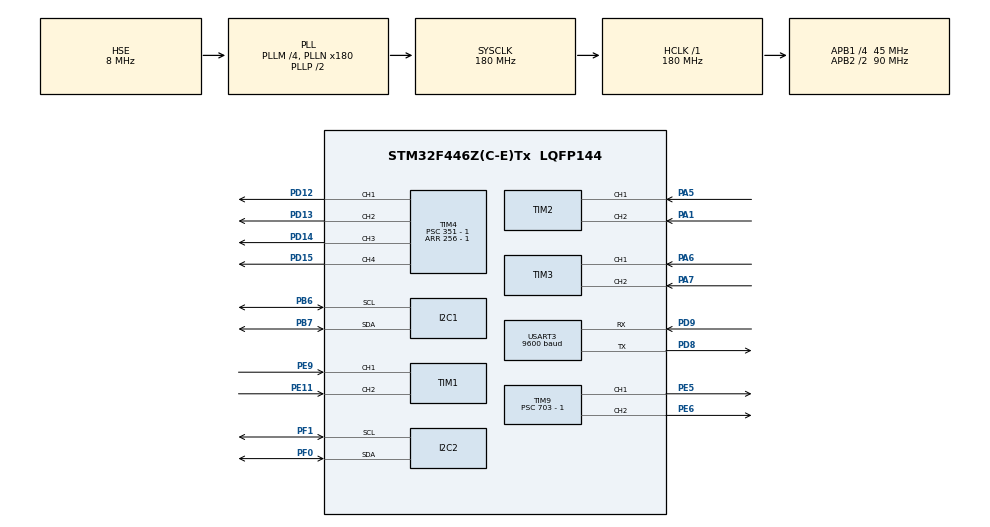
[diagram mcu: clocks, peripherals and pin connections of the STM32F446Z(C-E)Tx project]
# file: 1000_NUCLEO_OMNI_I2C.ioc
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Mcu.Family=STM32F4
Mcu.Name=STM32F446Z(C-E)Tx
Mcu.Package=LQFP144
NVIC.PriorityGroup=NVIC_PRIORITYGROUP_4
NVIC.TIM5_IRQn=true\:0\:0\:false\:false\:true\:true\:true\:true
PA1.Signal=S_TIM2_CH2
PA13.Mode=Serial_Wire
PA13.Signal=SYS_JTMS-SWDIO
PA14.Mode=Serial_Wire
PA14.Signal=SYS_JTCK-SWCLK
PA5.Signal=S_TIM2_CH1_ETR
PA6.Signal=S_TIM3_CH1
PA7.Signal=S_TIM3_CH2
PB14.Signal=S_TIM12_CH1
PB6.Mode=I2C
PB6.Signal=I2C1_SCL
PB7.Mode=I2C
PB7.Signal=I2C1_SDA
PC14-OSC32_IN.Mode=LSE-External-Oscillator
PC14-OSC32_IN.Signal=RCC_OSC32_IN
PC15-OSC32_OUT.Mode=LSE-External-Oscillator
PC15-OSC32_OUT.Signal=RCC_OSC32_OUT
PD12.Signal=S_TIM4_CH1
PD13.Signal=S_TIM4_CH2
PD14.Signal=S_TIM4_CH3
PD15.Signal=S_TIM4_CH4
PD8.Mode=Asynchronous
PD8.Signal=USART3_TX
PD9.Mode=Asynchronous
PD9.Signal=USART3_RX
PE11.Signal=S_TIM1_CH2
PE5.Signal=S_TIM9_CH1
PE6.Signal=S_TIM9_CH2
PE9.Signal=S_TIM1_CH1
PF0.Mode=I2C
PF0.Signal=I2C2_SDA
PF1.Mode=I2C
PF1.Signal=I2C2_SCL
PH0-OSC_IN.Mode=HSE-External-Oscillator
PH0-OSC_IN.Signal=RCC_OSC_IN
PH1-OSC_OUT.Mode=HSE-External-Oscillator
PH1-OSC_OUT.Signal=RCC_OSC_OUT
ProjectManager.HeapSize=0x200
ProjectManager.StackSize=0x400
ProjectManager.TargetToolchain=STM32CubeIDE
RCC.48MHZClocksFreq_Value=24000000
RCC.AHBFreq_Value=180000000
RCC.APB1CLKDivider=RCC_HCLK_DIV4
RCC.APB1Freq_Value=45000000
RCC.APB1TimFreq_Value=90000000
RCC.APB2CLKDivider=RCC_HCLK_DIV2
RCC.APB2Freq_Value=90000000
RCC.APB2TimFreq_Value=180000000
RCC.CortexFreq_Value=180000000
RCC.HCLKFreq_Value=180000000
RCC.HSE_VALUE=8000000
RCC.HSI_VALUE=16000000
RCC.PLLM=4
RCC.PLLMUL=RCC_PLL_MUL9
RCC.PLLN=180
RCC.PLLSourceVirtual=RCC_PLLSOURCE_HSE
RCC.PRESCALERUSB=RCC_USBCLKSOURCE_PLL_DIV1_5
RCC.SYSCLKFreq_VALUE=180000000
RCC.SYSCLKSource=RCC_SYSCLKSOURCE_PLLCLK
RCC.SYSCLKSourceVirtual=RCC_SYSCLKSOURCE_PLLCLK
RCC.USBFreq_Value=180000000
RCC.VCOOutputFreq_Value=360000000
SH.S_TIM12_CH1.0=TIM12_CH1
SH.S_TIM1_CH1.0=TIM1_CH1,Encoder_Interface
SH.S_TIM1_CH2.0=TIM1_CH2,Encoder_Interface
SH.S_TIM2_CH1_ETR.0=TIM2_CH1,Encoder_Interface
SH.S_TIM2_CH2.0=TIM2_CH2,Encoder_Interface
SH.S_TIM3_CH1.0=TIM3_CH1,Encoder_Interface
SH.S_TIM3_CH2.0=TIM3_CH2,Encoder_Interface
SH.S_TIM4_CH1.0=TIM4_CH1,PWM Generation1 CH1
SH.S_TIM4_CH2.0=TIM4_CH2,PWM Generation2 CH2
SH.S_TIM4_CH3.0=TIM4_CH3,PWM Generation3 CH3
SH.S_TIM4_CH4.0=TIM4_CH4,PWM Generation4 CH4
SH.S_TIM9_CH1.0=TIM9_CH1,PWM Generation1 CH1
SH.S_TIM9_CH2.0=TIM9_CH2,PWM Generation2 CH2
TIM1.EncoderMode=TIM_ENCODERMODE_TI12
TIM1.IC1Filter=10
TIM1.IC2Filter=10
TIM2.EncoderMode=TIM_ENCODERMODE_TI12
TIM2.IC1Filter=5
TIM2.IC2Filter=5
TIM3.EncoderMode=TIM_ENCODERMODE_TI12
TIM3.IC1Filter=10
TIM3.IC2Filter=10
TIM4.Channel-PWM\ Generation1\ CH1=TIM_CHANNEL_1
TIM4.Channel-PWM\ Generation2\ CH2=TIM_CHANNEL_2
TIM4.Channel-PWM\ Generation3\ CH3=TIM_CHANNEL_3
TIM4.Channel-PWM\ Generation4\ CH4=TIM_CHANNEL_4
TIM4.Period=256 - 1
TIM4.Prescaler=351 - 1
TIM5.Period=100-1
TIM5.Prescaler=9000-1
TIM9.Channel-PWM\ Generation1\ CH1=TIM_CHANNEL_1
TIM9.Channel-PWM\ Generation2\ CH2=TIM_CHANNEL_2
TIM9.Period=256 - 1
TIM9.Prescaler=703 - 1
USART3.BaudRate=9600
USART3.VirtualMode=VM_ASYNC
VP_TIM4_VS_ClockSourceINT.Mode=Internal
VP_TIM5_VS_ClockSourceINT.Mode=Internal
VP_TIM9_VS_ClockSourceINT.Mode=Internal
board=NUCLEO-F446ZE

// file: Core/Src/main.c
/* USER CODE BEGIN Header */
/**
  ******************************************************************************
  * @file           : main.c
  * @brief          : Main program body
  ******************************************************************************
  * @attention
  *
  * Copyright (c) 2026 STMicroelectronics.
  * All rights reserved.
  *
  * This software is licensed under terms that can be found in the LICENSE file
  * in the root directory of this software component.
  * If no LICENSE file comes with this software, it is provided AS-IS.
  *
  ******************************************************************************
  */
/* USER CODE END Header */
#include "main.h"

/* USER CODE BEGIN Includes */
#include<stdio.h>
#include<stdbool.h>
#include<stdint.h>
#include<string.h>
#include<math.h>
#include<stdlib.h>
#include"Encoderlib.h"
#include"BTS7960.h"
#include"SPIT.h"
/* USER CODE END Includes */

/* USER CODE BEGIN PD */
// ===================== BNO055 CONFIG =====================
#define BNO055_ADDR         (0x28 << 1)
#define BNO055_REG_OPR      0x3D
#define BNO055_REG_PWR      0x3E
#define BNO055_REG_EUL      0x1A

#define BNO055_MODE_CONFIG  0x00
#define BNO055_MODE_NDOF    0x0C
#define BNO055_PWR_NORMAL   0x00

// ===================== IMU STATE =====================
uint8_t bno_data[6];
volatile bool imuTick  = false;
float currentHeading   = 0.0f;
float currentRoll      = 0.0f;
float currentPitch     = 0.0f;

// ===================== COMMUNICATION AND CONTROL =====================
#define DATA_SIZE   5
#define SLAVE_ADDR  8

uint8_t data[DATA_SIZE];
char buffer[100];
char msg[150];
char msg2[150] = "Hello OMNI\r\n";

uint8_t RxData[8];
uint32_t blinkDelay;

uint8_t L2;
uint8_t R2;
bool L1;
bool R1;

typedef struct {
    bool right;
    bool down;
    bool up;
    bool left;
    bool square;
    bool cross;
    bool circle;
    bool triangle;
} ControllerButtons_t;
ControllerButtons_t Buttons;

typedef struct {
    int LX;
    int LY;
    int RX;
    int RY;
} ControllerJoystick_t;
ControllerJoystick_t Joystick;

// ===================== MOTOR CONTROL =====================
BTS motorM1;
BTS motorM2;
BTS motorM3;

int pwmM1, pwmM2, pwmM3;

// ===================== CONSTANTS =====================
#define PI          		3.14159265358979323846
#define radius      		1
#define length      		1
#define MAX_PWM     		120
#define LINEAR_PWM  		50
#define DEADZONE    		20
#define dt          		0.001

// ===================== KINEMATICS / NAVIGATION STATE =====================
float botVel;
float navAngle;
int16_t omega;

// ===================== FLAGS =====================
bool flag       = false;
bool moving     = false;
bool isOmega    = false;
bool pidTim     = false;
bool horizontal = false;
bool vertical   = false;
bool point      = false;
bool reached    = false;
bool pidEnabled = true;

// ===================== PID CONTROL =====================

typedef struct {
    float kp;
    float ki;
    float kd;

    float P;
    float I;
    float D;

    float error;
    float prevError;
    float dError;

    float controlSignal;

} PID_t;

PID_t xPID = {
    .kp         = 2.3f,
    .ki         = 0.5f,
    .kd         = 0.0f,
    .P          = 0.0f,
    .I          = 0.0f,
    .D          = 0.0f,
    .error      = 0.0f,
    .prevError  = 0.0f,
    .dError     = 0.0f,
    .controlSignal = 0.0f
};

PID_t yPID = {
    .kp         = 2.1f,
    .ki         = 0.0f,
    .kd         = 0.0f,
    .P          = 0.0f,
    .I          = 0.0f,
    .D          = 0.0f,
    .error      = 0.0f,
    .prevError  = 0.0f,
    .dError     = 0.0f,
    .controlSignal = 0.0f
};

PID_t AngPID = {
    .kp         = 2.8f,
    .ki         = 0.0f,
    .kd         = 0.5f,
    .P          = 0.0f,
    .I          = 0.0f,
    .D          = 0.0f,
    .error      = 0.0f,
    .prevError  = 0.0f,
    .dError     = 0.0f,
    .controlSignal = 0.0f
};

float targetHeading   = 0.0f;
float targetDistance  = 0.0f;
float currentDistance = 0.0f;

unsigned long tStart = 0;
unsigned long tEnd   = 0;
float dt2            = 0.0f;

// ===================== OdoMETRY VARS =====================
#define CPR          	8192
#define WHEEL_RADIUS 	(5.4f / 2.0f)
#define LENGTH1      	13.5f
#define LENGTH2      	13.5f
#define LENGTH3      	26.0f        // x axis wheel
#define X_CALIB 		(650.0f / 625.0f)
#define Y_CALIB 		(650.0f / 620.0f)

encoder_instance FEnc, LEnc, REnc;

typedef struct {
    // Global pose
    double xPosition;
    double yPosition;
    double thetaPosition;

    // Previous heading
    double prevTheta;

    // Previous encoder counts
    double prevFCount;
    double prevLCount;
    double prevRCount;

    // Deltas
    double dF;
    double dL;
    double dR;

    double deltaX;
    double deltaY;

    double deltaXGlobal;
    double deltaYGlobal;

} Odometry_t;

Odometry_t Odo = {
    .xPosition     = 0.0,
    .yPosition     = 0.0,
    .thetaPosition = 0.0,
    .prevTheta     = 0.0,
    .prevFCount    = 0.0,
    .prevLCount    = 0.0,
    .prevRCount    = 0.0,
    .dF            = 0.0,
    .dL            = 0.0,
    .dR            = 0.0,
    .deltaX        = 0.0,
    .deltaY        = 0.0,
    .deltaXGlobal  = 0.0,
    .deltaYGlobal  = 0.0
};

/* USER CODE END PD */

I2C_HandleTypeDef hi2c1;
I2C_HandleTypeDef hi2c2;

TIM_HandleTypeDef htim1;
TIM_HandleTypeDef htim2;
TIM_HandleTypeDef htim3;
TIM_HandleTypeDef htim4;
TIM_HandleTypeDef htim5;
TIM_HandleTypeDef htim9;

UART_HandleTypeDef huart3;

void SystemClock_Config(void);
static void MX_GPIO_Init(void);
static void MX_TIM4_Init(void);
static void MX_TIM9_Init(void);
static void MX_USART3_UART_Init(void);
static void MX_TIM1_Init(void);
static void MX_TIM2_Init(void);
static void MX_TIM3_Init(void);
static void MX_I2C2_Init(void);
static void MX_I2C1_Init(void);
static void MX_TIM5_Init(void);

/* USER CODE BEGIN PFP */
inline float Radians(float angle);
inline float Degrees(float angle);
inline float NormalizeAngle(float angle);
inline float constrain(float num, float min, float max);
inline long map(long x, long in_min, long in_max, long out_min, long out_max);

void BNO055_Init(void);
void GetAngle(void);
void GetControllerValue(void);

void RotateMotors(int pwm1, int pwm2, int pwm3);

void AngularPIDCompute(PID_t *pid);
void OdometryUpdate(Odometry_t *Odo);

void Move(float x1, float y1, float x2, float y2);
void NavigateTo(float x1, float y1, float x2, float y2);

/* USER CODE END PFP */

/* USER CODE BEGIN 0 */
// ===================== UTILITY =====================
float Radians(float angle) {
    return angle * 2 * PI / 360.0f;
}

float Degrees(float angle) {
    return angle * 360.0f / (2 * PI);
}

long map(long x, long in_min, long in_max, long out_min, long out_max) {
    return (x - in_min) * (out_max - out_min) / (in_max - in_min) + out_min;
}

float constrain(float num, float min, float max) {

    if (num > max) 					return max;
    else if (num < min) 			return min;
    else 							return num;
}

float NormalizeAngle(float angle) {
    if (angle > 180.0f)  			angle -= 360.0f;
    if (angle < -180.0f) 			angle += 360.0f;
    return angle;
}

// ===================== BNO055 / IMU =====================
void BNO055_Init(void) {

    uint8_t POWR   = BNO055_PWR_NORMAL;
    uint8_t OPR    = BNO055_MODE_NDOF;
    uint8_t CONFIG = BNO055_MODE_CONFIG;

    HAL_I2C_Mem_Write(&hi2c1, BNO055_ADDR, BNO055_REG_OPR, 1, &CONFIG, 1, 100); // setting to config mode
    HAL_I2C_Mem_Write(&hi2c1, BNO055_ADDR, BNO055_REG_PWR, 1, &POWR,   1, 100); // setting bno055 to normal mode
    HAL_I2C_Mem_Write(&hi2c1, BNO055_ADDR, BNO055_REG_OPR, 1, &OPR,    1, 100); // setting to NDOF mode

    HAL_Delay(700);
}

void GetAngle(void) {

    //HAL_I2C_Mem_Read(&hi2c2, BNO055_ADDR, BNO055_REG_EUL, 1, bno_data, 6, 100);
//  currentHeading = (bno_data[0] | (bno_data[1] << 8) / 16);
//  currentRoll    =  bno_data[2] | (bno_data[3] << 8) / 16;
//  currentPitch   =  bno_data[4] | (bno_data[5] << 8) / 16;

//  int16_t headingRaw = (int16_t)(bno_data[0] | (bno_data[1] << 8));
//  int16_t rollRaw    = (int16_t)(bno_data[2] | (bno_data[3] << 8));
//  int16_t pitchRaw   = (int16_t)(bno_data[4] | (bno_data[5] << 8));
//
//      currentHeading = NormalizeAngle(headingRaw / 16.0f);
//      currentRoll    = rollRaw / 16.0f;
//      currentPitch   = pitchRaw / 16.0f;

//  char buffer1[100];
//      sprintf(buffer1, "heading = %d \t roll = %d \t pitch = %d \r\n", currentHeading, currentRoll, currentPitch);
//      HAL_UART_Transmit(&huart2, (uint8_t*)buffer1, strlen(buffer1), 100);

    if (HAL_I2C_Mem_Read(&hi2c1, BNO055_ADDR, BNO055_REG_EUL, 1, bno_data, 6, 100) == HAL_OK) {

        int16_t headingRaw = (int16_t)((bno_data[1] << 8) | bno_data[0]);
        currentHeading     = headingRaw / 16.0f;
        currentHeading     = -NormalizeAngle(currentHeading);
    }

//  else {
//      uint8_t resetCommand            = 0x20;
//      uint8_t resetCommandTrigRegAddr = 0x3F;
//
//      HAL_I2C_GetError(&hi2c2);
//      HAL_I2C_DeInit(&hi2c2);
//      HAL_Delay(50);
//      HAL_I2C_Init(&hi2c2);
//      HAL_Delay(100);
//
//      // Write to SYS_TRIGGER (0x3F)
//      HAL_I2C_Mem_Write(&hi2c2, BNO055_ADDR, resetCommandTrigRegAddr, I2C_MEMADD_SIZE_8BIT, &resetCommand, sizeof(resetCommand), 100);
//
//      // Critical Delay: The datasheet says wait 650ms after reset
//      HAL_Delay(700);
//      BNO055_Init();
//  }

}

// ===================== CONTROLLER INPUT =====================
void GetControllerValue(void) {
    if (HAL_OK == (HAL_I2C_Master_Receive(&hi2c2, SLAVE_ADDR << 1, (uint8_t *)data, DATA_SIZE, HAL_MAX_DELAY))) {

        Joystick.LX = map(data[0], 0, 255,  127, -127);
        Joystick.LY = map(data[1], 0, 255,  127, -127);
//      Joystick.RX = map(data[2], 0, 255, -127,  127);
//      Joystick.RY = map(data[3], 0, 255, -127,  127);

        Buttons.right    = ((data[2] & (1 << 0)) ? 1 : 0);
        Buttons.down     = ((data[2] & (1 << 1)) ? 1 : 0);
        Buttons.up       = ((data[2] & (1 << 2)) ? 1 : 0);
        Buttons.left     = ((data[2] & (1 << 3)) ? 1 : 0);
        Buttons.square   = ((data[2] & (1 << 4)) ? 1 : 0);
        Buttons.cross    = ((data[2] & (1 << 5)) ? 1 : 0);
        Buttons.circle   = ((data[2] & (1 << 6)) ? 1 : 0);
        Buttons.triangle = ((data[2] & (1 << 7)) ? 1 : 0);

        L2    = data[3];
        R2    = data[4];
//      L1    = data[7];
//      R1    = data[8];

        omega = map(L2 - R2, -255, 255, 50, -50);

        if (abs(Joystick.LX) < DEADZONE) Joystick.LX = 0;
        if (abs(Joystick.LY) < DEADZONE) Joystick.LY = 0;
        if (abs(omega)       < DEADZONE) omega        = 0;

//      char buffer1[100];
//          sprintf(buffer1, "%d \t %d \t %d \t %d \t %d \t %d \t %d    %d \r\n",
//                  Joystick.LX, Joystick.LY, Joystick.RX, Joystick.RY, data[4], data[5], data[6], omega);
//          HAL_UART_Transmit(&huart2, (uint8_t*)buffer1, strlen(buffer1), 100);
        spitf("%d \t %d \t %d \t %d \t %d \t %d \t %d    %d \r\n",
        		Joystick.LX, Joystick.LY, Joystick.RX, Joystick.RY, data[4], data[5], data[6], omega);
    }

//  else {
//      HAL_I2C_GetError(&hi2c2);
//      HAL_I2C_DeInit(&hi2c2);
//      HAL_Delay(50);
//      HAL_I2C_Init(&hi2c2);
//      HAL_Delay(100);
//  }
}

// ===================== MOTOR CONTROL =====================

void RotateMotors(int pwm1, int pwm2, int pwm3) {

    RotateMotor(&motorM1, pwm1);
    RotateMotor(&motorM2, pwm2);
    RotateMotor(&motorM3, pwm3);

//  RotateMotor(&motorM1, AngPID.controlSignal);
//  RotateMotor(&motorM2, AngPID.controlSignal);
//  RotateMotor(&motorM3, AngPID.controlSignal);

//  sprintf(msg, "%d    %d   %d   %f \r\n", pwm1, pwm2, pwm3, currentHeading);

}

// ===================== PID CONTROL =====================
void AngularPIDCompute(PID_t *pid) {
    pid->error  = NormalizeAngle(targetHeading - currentHeading);
    pid->dError = pid->error - pid->prevError;
    pid->prevError = pid->error;

    pid->P = pid->error  * pid->kp;
    pid->I = pid->I + (pid->error * (float)dt2 * pid->ki);
    pid->D = (pid->dError / (float)dt2) * pid->kd;

    pid->controlSignal = pid->P + pid->I + pid->D;
}

// ===================== OdoMETRY =====================
void OdometryUpdate(Odometry_t *Odo) {
    update_encoder(&LEnc, &htim1);
    update_encoder(&REnc, &htim2);
    update_encoder(&FEnc, &htim3);

    double trueTheta = Radians(currentHeading);

    // IMU DELTA THETA
    double delTheta = trueTheta - Odo->prevTheta;

    if (delTheta >  PI) delTheta -= 2 * PI;
    if (delTheta < -PI) delTheta += 2 * PI;

//    double midTheta = Odo->prevTheta + (delTheta / 2.0);

    // ENCODER READ
    double FCount = FEnc.position;
    double LCount = LEnc.position;
//  double RCount = REnc.position;
    double RCount = 0;

    Odo->dF = FCount - Odo->prevFCount;
    Odo->dL = LCount - Odo->prevLCount;
    Odo->dR = RCount - Odo->prevRCount;

    // TRANSLATION
    Odo->deltaX = (Odo->dF / CPR) * 2 * PI * WHEEL_RADIUS * X_CALIB;
    //Odo->deltaY = (((Odo->dL + Odo->dR) / 2.0) / CPR) * 2 * PI * WHEEL_RADIUS;
    Odo->deltaY = (Odo->dL / CPR) * 2 * PI * WHEEL_RADIUS * Y_CALIB;

    //Odo->deltaX -= delTheta * LENGTH3;
    //Odo->deltaY -= delTheta * LENGTH1;

    // GLOBAL TRANSFORM
//  Odo->deltaXGlobal = Odo->deltaX * cos(midTheta) - Odo->deltaY * sin(midTheta);
//  Odo->deltaYGlobal = Odo->deltaX * sin(midTheta) + Odo->deltaY * cos(midTheta);
//
//  Odo->xPosition -= Odo->deltaXGlobal;
//  Odo->yPosition += Odo->deltaYGlobal;
//  Odo->thetaPosition = trueTheta;

    Odo->xPosition += Odo->deltaX;
    Odo->yPosition -= Odo->deltaY;

    Odo->prevFCount = FCount;
    Odo->prevLCount = LCount;
    Odo->prevRCount = RCount;
    Odo->prevTheta  = trueTheta;

//  float LDist = 2 * PI * WHEEL_RADIUS * LEnc.position / CPR;
//  float RDist = 2 * PI * WHEEL_RADIUS * REnc.position / CPR;
//  float FDist = 2 * PI * WHEEL_RADIUS * FEnc.position / CPR;
//
//  float yLocal = FDist - LENGTH1 * Radians(currentHeading);
//  float xLocal = (LDist + RDist) / 2.0f;
//
//  Odo->xPosition += xLocal * cos(Radians(currentHeading)) - yLocal * sin(Radians(currentHeading));
//  Odo->yPosition += xLocal * sin(Radians(currentHeading)) + yLocal * cos(Radians(currentHeading));

}

// ===================== NAVIGATION =====================

//  void FindWheelVel(void) {
//      botVel   = sqrt(pow(Joystick.LX, 2) + pow(Joystick.LY, 2));
//      navAngle = atan2(Joystick.LY, Joystick.LX) - Radians(targetHeading);
//
//      pwmM1 = constrain(((botVel * cos(navAngle) - (length * omega)) / radius) + AngPID.controlSignal, -MAX_PWM, MAX_PWM);
//      pwmM2 = constrain(((sqrt(3) * botVel * sin(navAngle) - botVel * cos(navAngle) - 2 * length * omega) / (2 * radius)) + AngPID.controlSignal, -MAX_PWM, MAX_PWM);
//      pwmM3 = constrain((-1 * ((botVel * cos(navAngle) + sqrt(3) * botVel * sin(navAngle) + 2 * length * omega) / (2 * radius))) + AngPID.controlSignal, -MAX_PWM, MAX_PWM);
//
//      char buffer1[100];
//      sprintf(buffer1, "pwm1 = %d \t pwm2 = %d \t pwm3 = %d \r\n", pwmM1, pwmM2, pwmM3);
//      HAL_UART_Transmit(&huart2, (uint8_t*)buffer1, strlen(buffer1), 100);
//  }

void Move(float x1, float y1, float x2, float y2) {

//  botVel   = sqrt(pow(Joystick.LX, 2) + pow(Joystick.LY, 2));
//  navAngle = atan2(Joystick.LY, Joystick.LX) - Radians(targetHeading);

    targetDistance  = sqrt(pow(x1 - x2, 2) + pow(y1 - y2, 2));
    currentDistance = sqrt(pow(Odo.xPosition - x1, 2) + pow(Odo.yPosition - y1, 2));
    //navAngle      = atan2(y2 - y1, x2 - x1) - Radians(targetHeading);
    navAngle        = atan2(y2 - Odo.yPosition, x2 - Odo.xPosition) - Radians(targetHeading);
    if (dt2 <= 0.0f) 						dt2 = 0.001f;

    xPID.error     = targetDistance - currentDistance;
    xPID.dError    = xPID.error - xPID.prevError;
    xPID.prevError = xPID.error;

    xPID.P = xPID.error * xPID.kp;
    xPID.I = xPID.I + (xPID.error * dt2 * xPID.ki);
    xPID.D = (xPID.dError / dt2) * xPID.kd;

    xPID.controlSignal = -(xPID.P + xPID.I + xPID.D);

//  float PWM1 = constrain(((xPID.controlSignal * cos(navAngle) - (length * omega))) / radius, -LINEAR_PWM, LINEAR_PWM);
//  float PWM2 = constrain(((sqrt(3) * xPID.controlSignal * sin(navAngle) - xPID.controlSignal * cos(navAngle) - 2 * length * omega) / (2 * radius)), -LINEAR_PWM, LINEAR_PWM);
//  float PWM3 = constrain((-1 * ((xPID.controlSignal * cos(navAngle) + sqrt(3) * xPID.controlSignal * sin(navAngle) + 2 * length * omega) / (2 * radius))), -LINEAR_PWM, LINEAR_PWM);

//  pwmM1 = constrain(PWM1 + AngPID.controlSignal, -MAX_PWM, MAX_PWM);
//  pwmM2 = constrain(PWM2 + AngPID.controlSignal, -MAX_PWM, MAX_PWM);
//  pwmM3 = constrain(PWM3 + AngPID.controlSignal, -MAX_PWM, MAX_PWM);

    pwmM1 = constrain(AngPID.controlSignal, -MAX_PWM, MAX_PWM);
    pwmM2 = constrain(AngPID.controlSignal, -MAX_PWM, MAX_PWM);
    pwmM3 = constrain(AngPID.controlSignal, -MAX_PWM, MAX_PWM);

    if (fabs(xPID.error) < 5) {
        reached = true;
        //RotateMotors(0, 0, 0);
    }

    else {
        RotateMotors(pwmM1, pwmM2, pwmM3);
    }

//  sprintf(msg, "x = %.2f   y = %.2f target = %.2f  current = %.2f error = %.2f angle = %.2f \r\n",
//          Odo.xPosition, Odo.yPosition, targetDistance, currentDistance, xPID.error, Degrees(navAngle));
//  HAL_UART_Transmit(&huart3, (uint8_t*)msg, strlen(msg), HAL_MAX_DELAY);
    spitf("x = %.2f   y = %.2f target = %.2f  current = %.2f error = %.2f angle = %.2f \r\n",
    	   Odo.xPosition, Odo.yPosition, targetDistance, currentDistance, xPID.error, Degrees(navAngle));

}

void NavigateTo(float x1, float y1, float x2, float y2) {
    AngularPIDCompute(&AngPID);
    if (!vertical) {
        if (!reached) {
            Move(x1, y1, x1, y2);
//            sprintf(msg, "x = %.2f   y = %.2f  pwm1 = %d, pwm2 = %d, pwm3 = %d, angle = %.2f  %.2f %.2f\r\n",
//            		Odo.xPosition, Odo.yPosition, pwmM1, pwmM2, pwmM3, Degrees(navAngle), currentHeading, xPID.controlSignal);
//            HAL_UART_Transmit(&huart3, (uint8_t *)msg, strlen(msg), HAL_MAX_DELAY);
            spitf("x = %.2f   y = %.2f  pwm1 = %d, pwm2 = %d, pwm3 = %d, angle = %.2f  %.2f %.2f\r\n",
            		Odo.xPosition, Odo.yPosition, pwmM1, pwmM2, pwmM3, Degrees(navAngle), currentHeading, xPID.controlSignal);
        }

        else {
            vertical = true;
            reached  = false;
//          sprintf(msg, "x = %.2f   y = %.2f error = %.2f reached vertical \r\n", Odo.xPosition, Odo.yPosition, xPID.error);
//          HAL_UART_Transmit(&huart3, (uint8_t*)msg, strlen(msg), HAL_MAX_DELAY);
            spitf("x = %.2f   y = %.2f error = %.2f reached vertical \r\n", Odo.xPosition, Odo.yPosition, xPID.error);
        }
    }

    if (vertical) {

        if (!reached && !horizontal) {
            Move(x1, y2, x2, y2);
            sprintf(msg, "x = %.2f   y = %.2f   pwm1 = %d, pwm2 = %d, pwm3 = %d  angle = %.2f   %.2f %.2f\r\n",
                    Odo.xPosition, Odo.yPosition, pwmM1, pwmM2, pwmM3,
                    Degrees(navAngle), currentHeading, xPID.controlSignal);
            HAL_UART_Transmit(&huart3, (uint8_t *)msg, strlen(msg), HAL_MAX_DELAY);
        }

        else {
            horizontal = true;
//          sprintf(msg, "x = %.2f   y = %.2f  error = %.2f  reached \r\n", Odo.xPosition, Odo.yPosition, xPID.error);
//          HAL_UART_Transmit(&huart3, (uint8_t*)msg, strlen(msg), HAL_MAX_DELAY);
            spitf("x = %.2f   y = %.2f  error = %.2f  reached \r\n", Odo.xPosition, Odo.yPosition, xPID.error);
        }

        if (horizontal && vertical) {
            point = true;
        }
    }
}
/* USER CODE END 0 */

int main(void)
{

    /* MCU Configuration--------------------------------------------------------*/

    /* Reset of all peripherals, Initializes the Flash interface and the Systick. */
    HAL_Init();

    /* Configure the system clock */
    SystemClock_Config();

    /* Initialize all configured peripherals */
    MX_GPIO_Init();
    MX_TIM4_Init();
    MX_TIM9_Init();
    MX_USART3_UART_Init();
    MX_TIM1_Init();
    MX_TIM2_Init();
    MX_TIM3_Init();
    MX_I2C2_Init();
    MX_I2C1_Init();
    MX_TIM5_Init();
    /* USER CODE BEGIN 2 */
    // ===================== IMU CONFIGURATION =====================
  HAL_TIM_Base_Start_IT(&htim5);
  BNO055_Init();
  HAL_Delay(100);           // let BNO settle briefly
  GetAngle();               // get first real heading
  targetHeading = currentHeading;
//  currentHeading = 0;

  // ===================== MOTOR CONFIGURATION =====================
  InitBTS(&motorM1, &htim9, TIM_CHANNEL_1, &htim9, TIM_CHANNEL_2, 2, 1000);  // PE5   PE6
  InitBTS(&motorM2, &htim4, TIM_CHANNEL_1, &htim4, TIM_CHANNEL_2, 1, 1000);  // PD12  PD13
  InitBTS(&motorM3, &htim4, TIM_CHANNEL_3, &htim4, TIM_CHANNEL_4, 1, 1000);  // PD14  PD15

  // ===================== ENCODER CONFIGURATION =====================
  HAL_TIM_Encoder_Start(&htim1, TIM_CHANNEL_ALL);
  HAL_TIM_Encoder_Start(&htim2, TIM_CHANNEL_ALL);
  HAL_TIM_Encoder_Start(&htim3, TIM_CHANNEL_ALL);

  //===================== DEBUG CONFIGURATION =====================
  spitDefault(&huart3);

    /* USER CODE END 2 */

    /* Infinite loop */
    while (1)
    {

        /* USER CODE BEGIN 3 */
         tStart = HAL_GetTick();
         dt2    = (tStart - tEnd) / 1000.0f;
         tEnd   = HAL_GetTick();

	      if (imuTick) {
	          GetAngle();
	          imuTick = false;
	      }

	      OdometryUpdate(&Odo);
	      NavigateTo(0, 0, 0, 0);
//	      RotateMotors(constrain(CORRECTION + pwmM3, -MAX_PWM, MAX_PWM),
//                       constrain(CORRECTION + pwmM3, -MAX_PWM, MAX_PWM),
//					   constrain(CORRECTION + pwmM3, -MAX_PWM, MAX_PWM));

//        sprintf(msg, "pwm1 %d pwm2 %d pwm3 %d current %.2f x %.2f y %.2f i = %.2f\r\n",
//                pwm1, pwm2, pwm3, current_heading, xPosition, yPosition, i_y);
//        HAL_UART_Transmit(&huart3, (uint8_t*)msg, strlen(msg), HAL_MAX_DELAY);

        spitf("pwm1 %d pwm2 %d pwm3 %d current %.2f x %.2f y %.2f \r\n",
        	   pwmM1,   pwmM2,   pwmM3,   currentHeading, Odo.xPosition, Odo.yPosition);

        // ONLY CALL WITHOUT NavigateTo
        // rotate_motor(pwm1, pwm2, pwm3);

        HAL_Delay(10);
    }
    /* USER CODE END 3 */
}

void SystemClock_Config(void)
{
    RCC_OscInitTypeDef RCC_OscInitStruct = {0};
    RCC_ClkInitTypeDef RCC_ClkInitStruct = {0};

    /** Configure the main internal regulator output voltage */
    __HAL_RCC_PWR_CLK_ENABLE();
    __HAL_PWR_VOLTAGESCALING_CONFIG(PWR_REGULATOR_VOLTAGE_SCALE1);

    /** Initializes the RCC Oscillators according to the specified parameters
      * in the RCC_OscInitTypeDef structure. */
    RCC_OscInitStruct.OscillatorType = RCC_OSCILLATORTYPE_HSE;
    RCC_OscInitStruct.HSEState       = RCC_HSE_ON;
    RCC_OscInitStruct.PLL.PLLState   = RCC_PLL_ON;
    RCC_OscInitStruct.PLL.PLLSource  = RCC_PLLSOURCE_HSE;
    RCC_OscInitStruct.PLL.PLLM       = 4;
    RCC_OscInitStruct.PLL.PLLN       = 180;
    RCC_OscInitStruct.PLL.PLLP       = RCC_PLLP_DIV2;
    RCC_OscInitStruct.PLL.PLLQ       = 2;
    RCC_OscInitStruct.PLL.PLLR       = 2;
    if (HAL_RCC_OscConfig(&RCC_OscInitStruct) != HAL_OK)
    {
        Error_Handler();
    }

    /** Activate the Over-Drive mode */
    if (HAL_PWREx_EnableOverDrive() != HAL_OK)
    {
        Error_Handler();
    }

    /** Initializes the CPU, AHB and APB buses clocks */
    RCC_ClkInitStruct.ClockType      = RCC_CLOCKTYPE_HCLK | RCC_CLOCKTYPE_SYSCLK
                                     | RCC_CLOCKTYPE_PCLK1 | RCC_CLOCKTYPE_PCLK2;
    RCC_ClkInitStruct.SYSCLKSource   = RCC_SYSCLKSOURCE_PLLCLK;
    RCC_ClkInitStruct.AHBCLKDivider  = RCC_SYSCLK_DIV1;
    RCC_ClkInitStruct.APB1CLKDivider = RCC_HCLK_DIV4;
    RCC_ClkInitStruct.APB2CLKDivider = RCC_HCLK_DIV2;

    if (HAL_RCC_ClockConfig(&RCC_ClkInitStruct, FLASH_LATENCY_5) != HAL_OK)
    {
        Error_Handler();
    }
}

static void MX_I2C1_Init(void)
{

    hi2c1.Instance             = I2C1;
    hi2c1.Init.ClockSpeed      = 100000;
    hi2c1.Init.DutyCycle       = I2C_DUTYCYCLE_2;
    hi2c1.Init.OwnAddress1     = 0;
    hi2c1.Init.AddressingMode  = I2C_ADDRESSINGMODE_7BIT;
    hi2c1.Init.DualAddressMode = I2C_DUALADDRESS_DISABLE;
    hi2c1.Init.OwnAddress2     = 0;
    hi2c1.Init.GeneralCallMode = I2C_GENERALCALL_DISABLE;
    hi2c1.Init.NoStretchMode   = I2C_NOSTRETCH_DISABLE;
    if (HAL_I2C_Init(&hi2c1) != HAL_OK)
    {
        Error_Handler();
    }

}

static void MX_I2C2_Init(void)
{

    hi2c2.Instance             = I2C2;
    hi2c2.Init.ClockSpeed      = 100000;
    hi2c2.Init.DutyCycle       = I2C_DUTYCYCLE_2;
    hi2c2.Init.OwnAddress1     = 0;
    hi2c2.Init.AddressingMode  = I2C_ADDRESSINGMODE_7BIT;
    hi2c2.Init.DualAddressMode = I2C_DUALADDRESS_DISABLE;
    hi2c2.Init.OwnAddress2     = 0;
    hi2c2.Init.GeneralCallMode = I2C_GENERALCALL_DISABLE;
    hi2c2.Init.NoStretchMode   = I2C_NOSTRETCH_DISABLE;
    if (HAL_I2C_Init(&hi2c2) != HAL_OK)
    {
        Error_Handler();
    }

}

static void MX_TIM1_Init(void)
{

    TIM_Encoder_InitTypeDef sConfig     = {0};
    TIM_MasterConfigTypeDef sMasterConfig = {0};

    htim1.Instance               = TIM1;
    htim1.Init.Prescaler         = 0;
    htim1.Init.CounterMode       = TIM_COUNTERMODE_UP;
    htim1.Init.Period            = 65535;
    htim1.Init.ClockDivision     = TIM_CLOCKDIVISION_DIV1;
    htim1.Init.RepetitionCounter = 0;
    htim1.Init.AutoReloadPreload = TIM_AUTORELOAD_PRELOAD_DISABLE;
    sConfig.EncoderMode          = TIM_ENCODERMODE_TI12;
    sConfig.IC1Polarity          = TIM_ICPOLARITY_RISING;
    sConfig.IC1Selection         = TIM_ICSELECTION_DIRECTTI;
    sConfig.IC1Prescaler         = TIM_ICPSC_DIV1;
    sConfig.IC1Filter            = 10;
    sConfig.IC2Polarity          = TIM_ICPOLARITY_RISING;
    sConfig.IC2Selection         = TIM_ICSELECTION_DIRECTTI;
    sConfig.IC2Prescaler         = TIM_ICPSC_DIV1;
    sConfig.IC2Filter            = 10;
    if (HAL_TIM_Encoder_Init(&htim1, &sConfig) != HAL_OK)
    {
        Error_Handler();
    }

    sMasterConfig.MasterOutputTrigger = TIM_TRGO_RESET;
    sMasterConfig.MasterSlaveMode     = TIM_MASTERSLAVEMODE_DISABLE;
    if (HAL_TIMEx_MasterConfigSynchronization(&htim1, &sMasterConfig) != HAL_OK)
    {
        Error_Handler();
    }
}

static void MX_TIM2_Init(void)
{

    TIM_Encoder_InitTypeDef sConfig       = {0};
    TIM_MasterConfigTypeDef sMasterConfig = {0};

    htim2.Instance               = TIM2;
    htim2.Init.Prescaler         = 0;
    htim2.Init.CounterMode       = TIM_COUNTERMODE_UP;
    htim2.Init.Period            = 4294967295;
    htim2.Init.ClockDivision     = TIM_CLOCKDIVISION_DIV1;
    htim2.Init.AutoReloadPreload = TIM_AUTORELOAD_PRELOAD_DISABLE;
    sConfig.EncoderMode          = TIM_ENCODERMODE_TI12;
    sConfig.IC1Polarity          = TIM_ICPOLARITY_RISING;
    sConfig.IC1Selection         = TIM_ICSELECTION_DIRECTTI;
    sConfig.IC1Prescaler         = TIM_ICPSC_DIV1;
    sConfig.IC1Filter            = 5;
    sConfig.IC2Polarity          = TIM_ICPOLARITY_RISING;
    sConfig.IC2Selection         = TIM_ICSELECTION_DIRECTTI;
    sConfig.IC2Prescaler         = TIM_ICPSC_DIV1;
    sConfig.IC2Filter            = 5;
    if (HAL_TIM_Encoder_Init(&htim2, &sConfig) != HAL_OK)
    {
        Error_Handler();
    }

    sMasterConfig.MasterOutputTrigger = TIM_TRGO_RESET;
    sMasterConfig.MasterSlaveMode     = TIM_MASTERSLAVEMODE_DISABLE;
    if (HAL_TIMEx_MasterConfigSynchronization(&htim2, &sMasterConfig) != HAL_OK)
    {
        Error_Handler();
    }
}

static void MX_TIM3_Init(void)
{

    TIM_Encoder_InitTypeDef sConfig       = {0};
    TIM_MasterConfigTypeDef sMasterConfig = {0};

    htim3.Instance               = TIM3;
    htim3.Init.Prescaler         = 0;
    htim3.Init.CounterMode       = TIM_COUNTERMODE_UP;
    htim3.Init.Period            = 65535;
    htim3.Init.ClockDivision     = TIM_CLOCKDIVISION_DIV1;
    htim3.Init.AutoReloadPreload = TIM_AUTORELOAD_PRELOAD_DISABLE;
    sConfig.EncoderMode          = TIM_ENCODERMODE_TI12;
    sConfig.IC1Polarity          = TIM_ICPOLARITY_RISING;
    sConfig.IC1Selection         = TIM_ICSELECTION_DIRECTTI;
    sConfig.IC1Prescaler         = TIM_ICPSC_DIV1;
    sConfig.IC1Filter            = 10;
    sConfig.IC2Polarity          = TIM_ICPOLARITY_RISING;
    sConfig.IC2Selection         = TIM_ICSELECTION_DIRECTTI;
    sConfig.IC2Prescaler         = TIM_ICPSC_DIV1;
    sConfig.IC2Filter            = 10;
    if (HAL_TIM_Encoder_Init(&htim3, &sConfig) != HAL_OK)
    {
        Error_Handler();
    }
    sMasterConfig.MasterOutputTrigger = TIM_TRGO_RESET;
    sMasterConfig.MasterSlaveMode     = TIM_MASTERSLAVEMODE_DISABLE;
    if (HAL_TIMEx_MasterConfigSynchronization(&htim3, &sMasterConfig) != HAL_OK)
    {
        Error_Handler();
    }
}

static void MX_TIM4_Init(void)
{

    TIM_ClockConfigTypeDef sClockSourceConfig = {0};
    TIM_MasterConfigTypeDef sMasterConfig     = {0};
    TIM_OC_InitTypeDef sConfigOC              = {0};

    htim4.Instance               = TIM4;
    htim4.Init.Prescaler         = 351 - 1;
    htim4.Init.CounterMode       = TIM_COUNTERMODE_UP;
    htim4.Init.Period            = 256 - 1;
    htim4.Init.ClockDivision     = TIM_CLOCKDIVISION_DIV1;
    htim4.Init.AutoReloadPreload = TIM_AUTORELOAD_PRELOAD_DISABLE;
    if (HAL_TIM_Base_Init(&htim4) != HAL_OK)
    {
        Error_Handler();
    }

    sClockSourceConfig.ClockSource = TIM_CLOCKSOURCE_INTERNAL;
    if (HAL_TIM_ConfigClockSource(&htim4, &sClockSourceConfig) != HAL_OK)
    {
        Error_Handler();
    }

    if (HAL_TIM_PWM_Init(&htim4) != HAL_OK)
    {
        Error_Handler();
    }

    sMasterConfig.MasterOutputTrigger = TIM_TRGO_RESET;
    sMasterConfig.MasterSlaveMode     = TIM_MASTERSLAVEMODE_DISABLE;
    if (HAL_TIMEx_MasterConfigSynchronization(&htim4, &sMasterConfig) != HAL_OK)
    {
        Error_Handler();
    }

    sConfigOC.OCMode     = TIM_OCMODE_PWM1;
    sConfigOC.Pulse      = 0;
    sConfigOC.OCPolarity = TIM_OCPOLARITY_HIGH;
    sConfigOC.OCFastMode = TIM_OCFAST_DISABLE;
    if (HAL_TIM_PWM_ConfigChannel(&htim4, &sConfigOC, TIM_CHANNEL_1) != HAL_OK)
    {
        Error_Handler();
    }
    if (HAL_TIM_PWM_ConfigChannel(&htim4, &sConfigOC, TIM_CHANNEL_2) != HAL_OK)
    {
        Error_Handler();
    }
    if (HAL_TIM_PWM_ConfigChannel(&htim4, &sConfigOC, TIM_CHANNEL_3) != HAL_OK)
    {
        Error_Handler();
    }
    if (HAL_TIM_PWM_ConfigChannel(&htim4, &sConfigOC, TIM_CHANNEL_4) != HAL_OK)
    {
        Error_Handler();
    }

    HAL_TIM_MspPostInit(&htim4);
}

static void MX_TIM5_Init(void)
{

    TIM_ClockConfigTypeDef sClockSourceConfig = {0};
    TIM_MasterConfigTypeDef sMasterConfig     = {0};

    htim5.Instance               = TIM5;
    htim5.Init.Prescaler         = 9000 - 1;
    htim5.Init.CounterMode       = TIM_COUNTERMODE_UP;
    htim5.Init.Period            = 100 - 1;
    htim5.Init.ClockDivision     = TIM_CLOCKDIVISION_DIV1;
    htim5.Init.AutoReloadPreload = TIM_AUTORELOAD_PRELOAD_DISABLE;
    if (HAL_TIM_Base_Init(&htim5) != HAL_OK)
    {
        Error_Handler();
    }

    sClockSourceConfig.ClockSource = TIM_CLOCKSOURCE_INTERNAL;
    if (HAL_TIM_ConfigClockSource(&htim5, &sClockSourceConfig) != HAL_OK)
    {
        Error_Handler();
    }

    sMasterConfig.MasterOutputTrigger = TIM_TRGO_RESET;
    sMasterConfig.MasterSlaveMode     = TIM_MASTERSLAVEMODE_DISABLE;
    if (HAL_TIMEx_MasterConfigSynchronization(&htim5, &sMasterConfig) != HAL_OK)
    {
        Error_Handler();
    }

}

static void MX_TIM9_Init(void)
{

    TIM_ClockConfigTypeDef sClockSourceConfig = {0};
    TIM_OC_InitTypeDef sConfigOC              = {0};

    htim9.Instance               = TIM9;
    htim9.Init.Prescaler         = 703 - 1;
    htim9.Init.CounterMode       = TIM_COUNTERMODE_UP;
    htim9.Init.Period            = 256 - 1;
    htim9.Init.ClockDivision     = TIM_CLOCKDIVISION_DIV1;
    htim9.Init.AutoReloadPreload = TIM_AUTORELOAD_PRELOAD_DISABLE;
    if (HAL_TIM_Base_Init(&htim9) != HAL_OK)
    {
        Error_Handler();
    }

    sClockSourceConfig.ClockSource = TIM_CLOCKSOURCE_INTERNAL;
    if (HAL_TIM_ConfigClockSource(&htim9, &sClockSourceConfig) != HAL_OK)
    {
        Error_Handler();
    }

    if (HAL_TIM_PWM_Init(&htim9) != HAL_OK)
    {
        Error_Handler();
    }

    sConfigOC.OCMode     = TIM_OCMODE_PWM1;
    sConfigOC.Pulse      = 0;
    sConfigOC.OCPolarity = TIM_OCPOLARITY_HIGH;
    sConfigOC.OCFastMode = TIM_OCFAST_DISABLE;
    if (HAL_TIM_PWM_ConfigChannel(&htim9, &sConfigOC, TIM_CHANNEL_1) != HAL_OK)
    {
        Error_Handler();
    }
    if (HAL_TIM_PWM_ConfigChannel(&htim9, &sConfigOC, TIM_CHANNEL_2) != HAL_OK)
    {
        Error_Handler();
    }

    HAL_TIM_MspPostInit(&htim9);
}

static void MX_USART3_UART_Init(void)
{

    huart3.Instance          = USART3;
    huart3.Init.BaudRate     = 9600;
    huart3.Init.WordLength   = UART_WORDLENGTH_8B;
    huart3.Init.StopBits     = UART_STOPBITS_1;
    huart3.Init.Parity       = UART_PARITY_NONE;
    huart3.Init.Mode         = UART_MODE_TX_RX;
    huart3.Init.HwFlowCtl    = UART_HWCONTROL_NONE;
    huart3.Init.OverSampling = UART_OVERSAMPLING_16;
    if (HAL_UART_Init(&huart3) != HAL_OK)
    {
        Error_Handler();
    }

}

static void MX_GPIO_Init(void)
{
    GPIO_InitTypeDef GPIO_InitStruct = {0};

    /* GPIO Ports Clock Enable */
    __HAL_RCC_GPIOE_CLK_ENABLE();
    __HAL_RCC_GPIOC_CLK_ENABLE();
    __HAL_RCC_GPIOF_CLK_ENABLE();
    __HAL_RCC_GPIOH_CLK_ENABLE();
    __HAL_RCC_GPIOA_CLK_ENABLE();
    __HAL_RCC_GPIOB_CLK_ENABLE();
    __HAL_RCC_GPIOD_CLK_ENABLE();

    /* Configure GPIO pin : PB14 */
    GPIO_InitStruct.Pin       = GPIO_PIN_14;
    GPIO_InitStruct.Mode      = GPIO_MODE_AF_PP;
    GPIO_InitStruct.Pull      = GPIO_NOPULL;
    GPIO_InitStruct.Speed     = GPIO_SPEED_FREQ_LOW;
    GPIO_InitStruct.Alternate = GPIO_AF9_TIM12;
    HAL_GPIO_Init(GPIOB, &GPIO_InitStruct);

}

/* USER CODE BEGIN 4 */

void HAL_TIM_PeriodElapsedCallback(TIM_HandleTypeDef *htim)
{
    /* USER CODE BEGIN Callback 0 */
    /* USER CODE END Callback 0 */
    if (htim->Instance == TIM5){
        imuTick = true;
    }

    /* USER CODE BEGIN Callback 1 */
    /* USER CODE END Callback 1 */
}

/* USER CODE END 4 */

void Error_Handler(void)
{
    __disable_irq();
    while (1)
    {
    }
}
